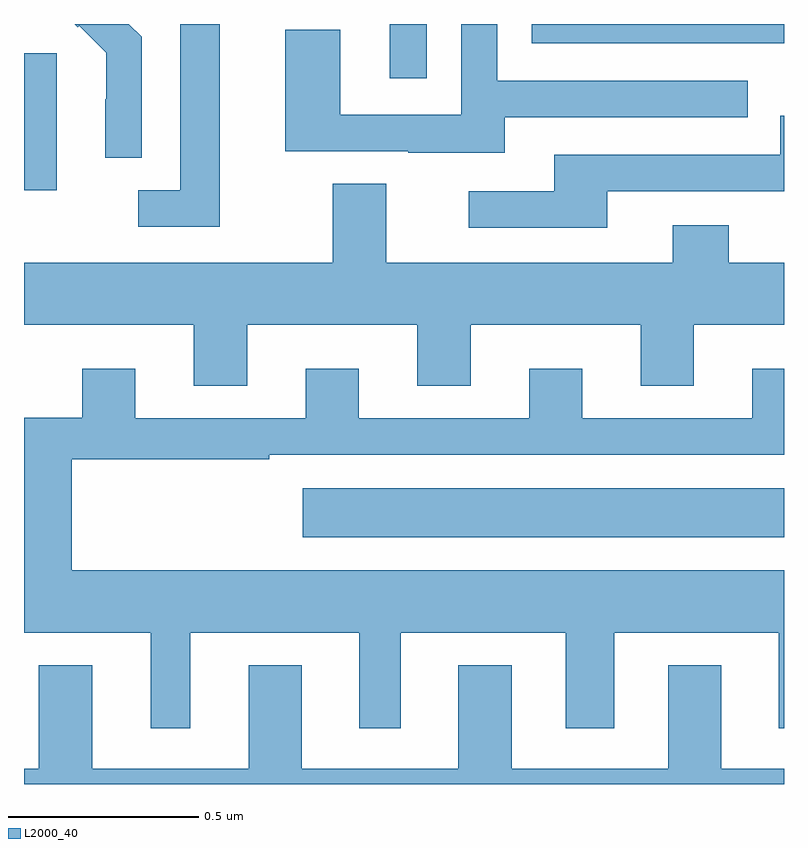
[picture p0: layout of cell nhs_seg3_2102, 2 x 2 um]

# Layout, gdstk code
import gdstk
lib = gdstk.Library(unit=1e-6, precision=1e-09)
def R(c, l, rs):  # rectangles x0, y0, x1, y1
    for r in rs: c.add(gdstk.rectangle(r[:2], r[2:], *l))
def P(c, l, *ps):  # polygons
    for p in ps: c.add(gdstk.Polygon(p, *l))
L2000_40 = (2000, 40)

nhs_seg3_2102 = lib.new_cell('nhs_seg3_2102')
R(nhs_seg3_2102, L2000_40, [(137.733,675.05,139,675.178), (137,675.962,137.086,676.323), (137.963,676.257,138.06,676.4), (138.336,676.35,139,676.4)])
P(nhs_seg3_2102, L2000_40, [(137.31,676.366),(137.276,676.4),(137.134,676.4),(137.142,676.392),(137.145,676.395),(137.216,676.325),(137.216,676.202),(137.214,676.202),(137.214,676.048),(137.31,676.048)],
  [(138.265,676.155),(138.905,676.155),(138.905,676.251),(138.246,676.251),(138.246,676.4),(138.15,676.4),(138.15,676.161),(137.832,676.161),(137.832,676.385),(137.687,676.385),(137.687,676.065),(138.011,676.065),(138.011,676.061),(138.265,676.061)],
  [(137.515,676.4),(137.411,676.4),(137.411,675.963),(137.301,675.963),(137.301,675.867),(137.515,675.867)],
  [(138.535,675.96),(139,675.96),(139,676.159),(138.99,676.159),(138.99,676.056),(138.395,676.056),(138.395,675.96),(138.171,675.96),(138.171,675.864),(138.535,675.864)],
  [(137.587,675.608),(138.035,675.608),(138.035,675.448),(138.175,675.448),(138.175,675.608),(138.623,675.608),(138.623,675.448),(138.763,675.448),(138.763,675.608),(139,675.608),(139,675.772),(138.855,675.772),(138.855,675.871),(138.707,675.871),(138.707,675.772),(137.953,675.772),(137.953,675.98),(137.813,675.98),(137.813,675.772),(137,675.772),(137,675.608),(137.447,675.608),(137.447,675.448),(137.587,675.448)],
  [(137.437,674.798),(137.882,674.798),(137.882,674.547),(137.992,674.547),(137.992,674.798),(138.425,674.798),(138.425,674.547),(138.553,674.547),(138.553,674.798),(138.986,674.798),(138.986,674.547),(139,674.547),(139,674.962),(137.125,674.962),(137.125,675.255),(137.645,675.255),(137.645,675.267),(139,675.267),(139,675.493),(138.917,675.493),(138.917,675.363),(138.469,675.363),(138.469,675.493),(138.329,675.493),(138.329,675.363),(137.881,675.363),(137.881,675.493),(137.741,675.493),(137.741,675.363),(137.293,675.363),(137.293,675.493),(137.153,675.493),(137.153,675.364),(137,675.364),(137,674.798),(137.333,674.798),(137.333,674.547),(137.437,674.547)],
  [(139,674.44),(138.835,674.44),(138.835,674.713),(138.695,674.713),(138.695,674.44),(138.283,674.44),(138.283,674.713),(138.143,674.713),(138.143,674.44),(137.731,674.44),(137.731,674.713),(137.591,674.713),(137.591,674.44),(137.179,674.44),(137.179,674.713),(137.039,674.713),(137.039,674.44),(137,674.44),(137,674.4),(139,674.4)])

lib.write_gds('nhs_seg3_2102.gds')
